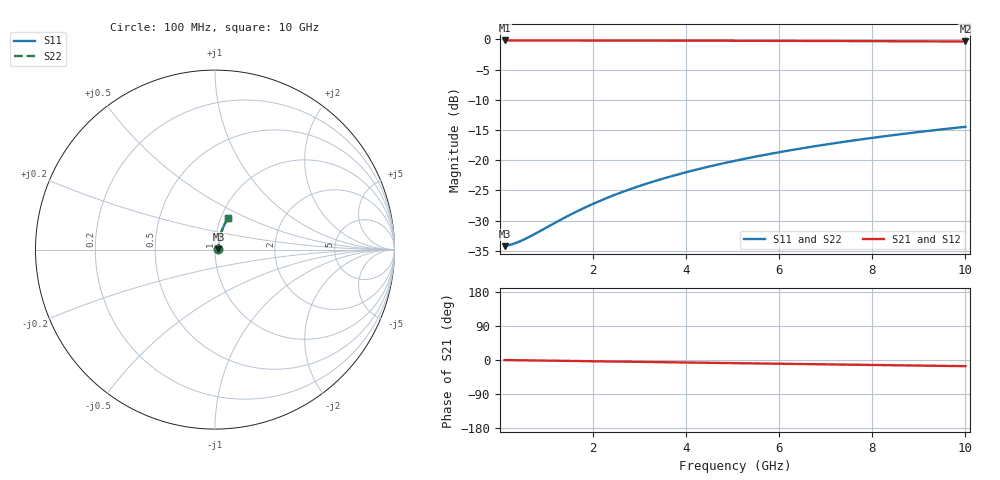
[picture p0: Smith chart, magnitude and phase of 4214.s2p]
# Hz S RI R 50.00
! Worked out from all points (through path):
!   100 points, 100 MHz to 10 GHz, reference 50 ohm
!   highest |S21| = -0.17 dB at 100 MHz (marker M1); lowest = -0.3 dB at 10 GHz (marker M2)
!   group delay of S21, straight-line fit = 4.53 ps
!   lowest |S11| = -34.2 dB at 100 MHz (marker M3), VSWR 1.04, Z = 52 + j0.195 ohm
!   |S11| at or under -10 dB: start of sweep to end of sweep
!   |S22| runs from -34.2 to -14.5 dB; largest |S21 - S12| = 0
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1e8  0.0193 0.00188  0.9807 -0.00282  0.9807 -0.00282  0.0193 0.00188
2e8  0.0195 0.00375  0.9805 -0.00565  0.9805 -0.00565  0.0195 0.00375
3e8  0.0196 0.00562  0.9804 -0.00847  0.9804 -0.00847  0.0196 0.00562
4e8  0.0197 0.0075  0.9803 -0.0113  0.9803 -0.0113  0.0197 0.0075
5e8  0.0198 0.00937  0.9802 -0.0141  0.9802 -0.0141  0.0198 0.00937
7e8  0.0201 0.0131  0.9799 -0.0197  0.9799 -0.0197  0.0201 0.0131
1.4e9  0.0211 0.0262  0.9788 -0.0394  0.9788 -0.0394  0.0211 0.0262
1.8e9  0.0219 0.0336  0.9779 -0.0507  0.9779 -0.0507  0.0219 0.0336
2.2e9  0.0229 0.041  0.9769 -0.0619  0.9769 -0.0619  0.0229 0.041
2.6e9  0.024 0.0484  0.9757 -0.0731  0.9757 -0.0731  0.024 0.0484
3e9  0.0252 0.0558  0.9743 -0.0842  0.9743 -0.0842  0.0252 0.0558
3.4e9  0.0267 0.0631  0.9728 -0.0953  0.9728 -0.0953  0.0267 0.0631
3.8e9  0.0283 0.0704  0.971 -0.1064  0.971 -0.1064  0.0283 0.0704
4.2e9  0.03 0.0776  0.9691 -0.1174  0.9691 -0.1174  0.03 0.0776
4.6e9  0.032 0.0848  0.967 -0.1284  0.967 -0.1284  0.032 0.0848
5.1e9  0.0346 0.0936  0.9642 -0.142  0.9642 -0.142  0.0346 0.0936
5.9e9  0.0393 0.1077  0.9591 -0.1637  0.9591 -0.1637  0.0393 0.1077
6.7e9  0.0446 0.1214  0.9533 -0.185  0.9533 -0.185  0.0446 0.1214
7.5e9  0.0505 0.1349  0.9469 -0.2061  0.9469 -0.2061  0.0505 0.1349
8.4e9  0.0578 0.1496  0.9389 -0.2294  0.9389 -0.2294  0.0578 0.1496
9.2e9  0.0649 0.1623  0.9311 -0.2497  0.9311 -0.2497  0.0649 0.1623
1e10  0.0726 0.1746  0.9228 -0.2696  0.9228 -0.2696  0.0726 0.1746
